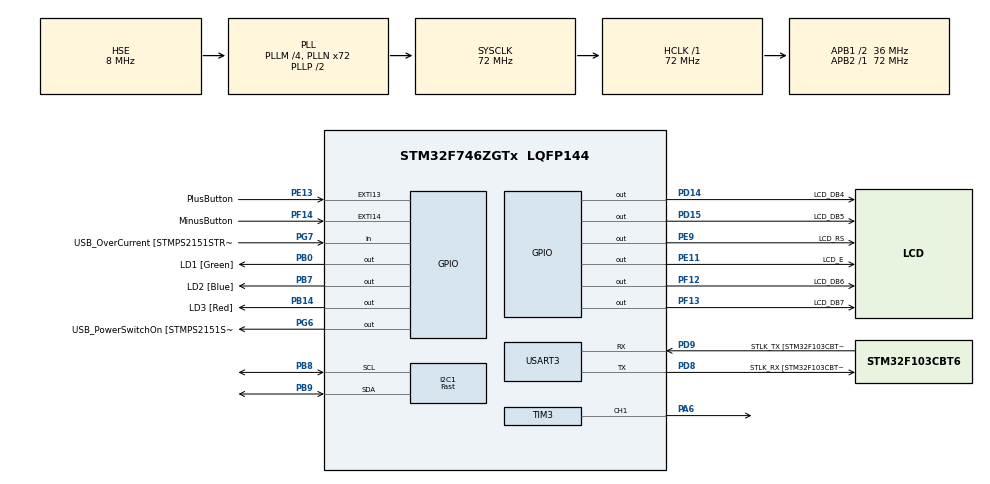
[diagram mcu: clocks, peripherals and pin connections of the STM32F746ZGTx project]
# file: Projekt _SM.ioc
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FREERTOS.Queues01=TempQueue,8,LcdMessage_t,0,Dynamic,NULL,NULL;SetpointQueue,8,float,0,Dynamic,NULL,NULL;ButtonsQueue,8,float,0,Dynamic,NULL,NULL
I2C1.I2C_Speed_Mode=I2C_Fast
PB14.GPIO_Label=LD3 [Red]
PG6.GPIO_Label=USB_PowerSwitchOn [STMPS2151STR_EN]
PA14.GPIO_Label=TCK
PB13.Signal=ETH_TXD1
PG13.Signal=ETH_TXD0
RCC.SYSCLKSource=RCC_SYSCLKSOURCE_PLLCLK
USART3.VirtualMode-Asynchronous=VM_ASYNC
FREERTOS.configENABLE_FPU=1
RCC.APB2TimFreq_Value=72000000
PH1/OSC_OUT.Signal=RCC_OSC_OUT
PD8.Signal=USART3_TX
NVIC.EXTI15_10_IRQn=true\:5\:0\:true\:true\:true\:2\:true\:true\:true
NVIC.TIM8_TRG_COM_TIM14_IRQn=true\:0\:0\:false\:false\:true\:false\:false\:true
PF12.GPIO_Label=LCD_DB6
PC4.GPIO_Label=RMII_RXD0 [LAN8742A-CZ-TR_RXD0]
PE9.Signal=GPIO_Output
PA8.Signal=USB_OTG_FS_SOF
VP_SYS_VS_tim14.Mode=TIM14
PF14.GPIO_PuPd=GPIO_NOPULL
Mcu.Package=LQFP144
PB9.Signal=I2C1_SDA
NVIC.TimeBase=TIM8_TRG_COM_TIM14_IRQn
NVIC.TimeBaseIP=TIM14
PA10.Signal=USB_OTG_FS_ID
PF14.Signal=GPXTI14
RCC.APB1TimFreq_Value=72000000
PD15.Signal=GPIO_Output
FREERTOS.Tasks01=LCDTask,24,256,StartLCDTask,Default,NULL,Dynamic,NULL,NULL;ControllerTask,40,256,StartControllerTask,Default,NULL,Dynamic,NULL,NULL;HeartBeatTask,8,128,HeartBeatTaskTask,Default,NULL,Dynamic,NULL,NULL;ParsingTask,24,256,StartParsingTask,Default,NULL,Dynamic,NULL,NULL
PD9.GPIO_Label=STLK_TX [STM32F103CBT6_PA2]
PA9.GPIO_Label=USB_VBUS
PA11.GPIO_Label=USB_DM
PF14.GPIO_Label=MinusButton
RCC.APB1CLKDivider=RCC_HCLK_DIV2
PF13.GPIO_Label=LCD_DB7
PG13.GPIO_Label=RMII_TXD0 [LAN8742A-CZ-TR_TXD0]
PA8.GPIO_Label=USB_SOF [TP1]
PA9.Signal=USB_OTG_FS_VBUS
I2C1.Timing=0x00301739
PE9.GPIO_Label=LCD_RS
PD8.Mode=Asynchronous
PB14.Signal=GPIO_Output
PE13.GPIO_ModeDefaultEXTI=GPIO_MODE_IT_FALLING
RCC.PRESCALERUSB=RCC_USBCLKSOURCE_PLL_DIV1_5
PG7.GPIO_Label=USB_OverCurrent [STMPS2151STR_FAULT]
PA1.GPIO_Label=RMII_REF_CLK [LAN8742A-CZ-TR_REFCLK0]
PF14.GPIO_ModeDefaultEXTI=GPIO_MODE_IT_FALLING
PF13.Signal=GPIO_Output
PA13.Mode=Serial_Wire
PE13.GPIO_Label=PlusButton
PA11.Signal=USB_OTG_FS_DM
ProjectManager.HeapSize=0x200
FREERTOS.Timers01=LcdDataTimer,LcdDataTimerCallback,osTimerPeriodic,Default,NULL,Dynamic,NULL
VP_TIM4_VS_ClockSourceINT.Mode=Internal
FREERTOS.Mutexes01=UartMutex,Dynamic,NULL
NVIC.PriorityGroup=NVIC_PRIORITYGROUP_4
PB8.Mode=I2C
PC15/OSC32_OUT.Signal=RCC_OSC32_OUT
PB0.Signal=GPIO_Output
PC1.Signal=ETH_MDC
Mcu.Family=STM32F7
NVIC.USART3_IRQn=true\:5\:0\:true\:true\:true\:1\:true\:true\:true
RCC.CortexFreq_Value=72000000
FREERTOS.BinarySemaphores01=TempQueueSemaphore,Dynamic,NULL
PG6.Signal=GPIO_Output
PE11.GPIO_Label=LCD_E
RCC.SYSCLKSourceVirtual=RCC_SYSCLKSOURCE_PLLCLK
PC14/OSC32_IN.Mode=LSE-External-Oscillator
PB0.GPIO_Label=LD1 [Green]
PB13.GPIO_Label=RMII_TXD1 [LAN8742A-CZ-TR_TXD1]
PD9.Mode=Asynchronous
PG11.Signal=ETH_TX_EN
ProjectManager.StackSize=0x400
VP_FREERTOS_VS_CMSIS_V2.Mode=CMSIS_V2
PA12.Signal=USB_OTG_FS_DP
PH0/OSC_IN.Mode=HSE-External-Clock-Source
RCC.HCLKFreq_Value=72000000
TIM3.Period=999
PF12.Signal=GPIO_Output
RCC.AHBFreq_Value=72000000
TIM3.Channel-PWM\ Generation1\ CH1=TIM_CHANNEL_1
RCC.HSE_VALUE=8000000
PE13.GPIO_PuPd=GPIO_NOPULL
RCC.PLLMUL=RCC_PLL_MUL9
PE13.Signal=GPXTI13
PA14.Mode=Serial_Wire
TIM3.Prescaler=71
PA10.GPIO_Label=USB_ID
PB7.Signal=GPIO_Output
SH.S_TIM3_CH1.0=TIM3_CH1,PWM Generation1 CH1
PH1/OSC_OUT.Mode=HSE-External-Clock-Source
PB7.GPIO_Label=LD2 [Blue]
PA6.Signal=S_TIM3_CH1
PC14/OSC32_IN.Signal=RCC_OSC32_IN
PA2.GPIO_Label=RMII_MDIO [LAN8742A-CZ-TR_MDIO]
PG11.GPIO_Label=RMII_TX_EN [LAN8742A-CZ-TR_TXEN]
PC5.Signal=ETH_RXD1
VP_TIM3_VS_ClockSourceINT.Mode=Internal
PB3.GPIO_Label=SW0
RCC.PLLSourceVirtual=RCC_PLLSOURCE_HSE
PD15.GPIO_Label=LCD_DB5
PG7.Signal=GPIO_Input
PC4.Signal=ETH_RXD0
PD9.Signal=USART3_RX
FREERTOS.CountingSemaphores01=ReadLinesCountingSem,4,Dynamic,NULL
PA12.GPIO_Label=USB_DP
PD8.GPIO_Label=STLK_RX [STM32F103CBT6_PA3]
PA13.Signal=SYS_JTMS-SWDIO
FREERTOS.configUSE_IDLE_HOOK=0
ProjectManager.TargetToolchain=STM32CubeIDE
PB9.Mode=I2C
RCC.USBFreq_Value=48000000
TIM4.Prescaler=71
PE11.Signal=GPIO_Output
PA1.Signal=ETH_REF_CLK
board=NUCLEO-F746ZG
RCC.VCOOutputFreq_Value=144000000
PH0/OSC_IN.Signal=RCC_OSC_IN
RCC.APB2Freq_Value=72000000
PC1.GPIO_Label=RMII_MDC [LAN8742A-CZ-TR_MDC]
PD14.GPIO_Label=LCD_DB4
Mcu.Name=STM32F746ZGTx
PA13.GPIO_Label=TMS
PA2.Signal=ETH_MDIO
PD14.Signal=GPIO_Output
RCC.48MHZClocksFreq_Value=24000000
PB3.Signal=SYS_JTDO-SWO
RCC.SYSCLKFreq_VALUE=72000000
PA7.GPIO_Label=RMII_CRS_DV [LAN8742A-CZ-TR_CRS_DV]
PC5.GPIO_Label=RMII_RXD1 [LAN8742A-CZ-TR_RXD1]
PC15/OSC32_OUT.Mode=LSE-External-Oscillator
PA14.Signal=SYS_JTCK-SWCLK
RCC.HSI_VALUE=16000000
PH0/OSC_IN.GPIO_Label=MCO [STM32F103CBT6_PA8]
RCC.PLLQ=3
RCC.PLLM=4
RCC.PLLN=72
PB8.Signal=I2C1_SCL
RCC.APB1Freq_Value=36000000
PA7.Signal=ETH_CRS_DV

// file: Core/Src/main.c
/* USER CODE BEGIN Header */
/**
  ******************************************************************************
  * @file           : main.c
  * @brief          : Main program body
  ******************************************************************************
  * @attention
  *
  * <h2><center>&copy; Copyright (c) 2022 STMicroelectronics.
  * All rights reserved.</center></h2>
  *
  * This software component is licensed by ST under BSD 3-Clause license,
  * the "License"; You may not use this file except in compliance with the
  * License. You may obtain a copy of the License at:
  *                        opensource.org/licenses/BSD-3-Clause
  *
  ******************************************************************************
  */
/* USER CODE END Header */
#include "main.h"
#include "cmsis_os.h"
#include "i2c.h"
#include "tim.h"
#include "usart.h"
#include "gpio.h"

void SystemClock_Config(void);
void MX_FREERTOS_Init(void);
static void MX_NVIC_Init(void);

int main(void)
{

  /* MCU Configuration--------------------------------------------------------*/

  /* Reset of all peripherals, Initializes the Flash interface and the Systick. */
  HAL_Init();

  /* Configure the system clock */
  SystemClock_Config();

  /* Initialize all configured peripherals */
  MX_GPIO_Init();
  MX_USART3_UART_Init();
  MX_I2C1_Init();
  MX_TIM3_Init();
  MX_TIM4_Init();

  /* Initialize interrupts */
  MX_NVIC_Init();

  /* Init scheduler */
  osKernelInitialize();  /* Call init function for freertos objects (in freertos.c) */
  MX_FREERTOS_Init();
  /* Start scheduler */
  osKernelStart();

  /* We should never get here as control is now taken by the scheduler */
  /* Infinite loop */
  while (1)
  {

  }
}

void SystemClock_Config(void)
{
  RCC_OscInitTypeDef RCC_OscInitStruct = {0};
  RCC_ClkInitTypeDef RCC_ClkInitStruct = {0};
  RCC_PeriphCLKInitTypeDef PeriphClkInitStruct = {0};

  /** Configure LSE Drive Capability
  */
  HAL_PWR_EnableBkUpAccess();
  /** Configure the main internal regulator output voltage
  */
  __HAL_RCC_PWR_CLK_ENABLE();
  __HAL_PWR_VOLTAGESCALING_CONFIG(PWR_REGULATOR_VOLTAGE_SCALE3);
  /** Initializes the RCC Oscillators according to the specified parameters
  * in the RCC_OscInitTypeDef structure.
  */
  RCC_OscInitStruct.OscillatorType = RCC_OSCILLATORTYPE_HSE;
  RCC_OscInitStruct.HSEState = RCC_HSE_BYPASS;
  RCC_OscInitStruct.PLL.PLLState = RCC_PLL_ON;
  RCC_OscInitStruct.PLL.PLLSource = RCC_PLLSOURCE_HSE;
  RCC_OscInitStruct.PLL.PLLM = 4;
  RCC_OscInitStruct.PLL.PLLN = 72;
  RCC_OscInitStruct.PLL.PLLP = RCC_PLLP_DIV2;
  RCC_OscInitStruct.PLL.PLLQ = 3;
  if (HAL_RCC_OscConfig(&RCC_OscInitStruct) != HAL_OK)
  {
    Error_Handler();
  }
  /** Initializes the CPU, AHB and APB buses clocks
  */
  RCC_ClkInitStruct.ClockType = RCC_CLOCKTYPE_HCLK|RCC_CLOCKTYPE_SYSCLK
                              |RCC_CLOCKTYPE_PCLK1|RCC_CLOCKTYPE_PCLK2;
  RCC_ClkInitStruct.SYSCLKSource = RCC_SYSCLKSOURCE_PLLCLK;
  RCC_ClkInitStruct.AHBCLKDivider = RCC_SYSCLK_DIV1;
  RCC_ClkInitStruct.APB1CLKDivider = RCC_HCLK_DIV2;
  RCC_ClkInitStruct.APB2CLKDivider = RCC_HCLK_DIV1;

  if (HAL_RCC_ClockConfig(&RCC_ClkInitStruct, FLASH_LATENCY_2) != HAL_OK)
  {
    Error_Handler();
  }
  PeriphClkInitStruct.PeriphClockSelection = RCC_PERIPHCLK_USART3|RCC_PERIPHCLK_I2C1;
  PeriphClkInitStruct.Usart3ClockSelection = RCC_USART3CLKSOURCE_PCLK1;
  PeriphClkInitStruct.I2c1ClockSelection = RCC_I2C1CLKSOURCE_PCLK1;
  if (HAL_RCCEx_PeriphCLKConfig(&PeriphClkInitStruct) != HAL_OK)
  {
    Error_Handler();
  }
}

/**
  * @brief NVIC Configuration.
  * @retval None
  */
static void MX_NVIC_Init(void)
{
  /* USART3_IRQn interrupt configuration */
  HAL_NVIC_SetPriority(USART3_IRQn, 5, 0);
  HAL_NVIC_EnableIRQ(USART3_IRQn);
  /* EXTI15_10_IRQn interrupt configuration */
  HAL_NVIC_SetPriority(EXTI15_10_IRQn, 5, 0);
  HAL_NVIC_EnableIRQ(EXTI15_10_IRQn);
}

 /**
  * @brief  Period elapsed callback in non blocking mode
  * @note   This function is called  when TIM14 interrupt took place, inside
  * HAL_TIM_IRQHandler(). It makes a direct call to HAL_IncTick() to increment
  * a global variable "uwTick" used as application time base.
  * @param  htim : TIM handle
  * @retval None
  */
void HAL_TIM_PeriodElapsedCallback(TIM_HandleTypeDef *htim)
{
  if (htim->Instance == TIM14) {
    HAL_IncTick();
  }
}

void Error_Handler(void)
{
  __disable_irq();
  while (1)
  {
  }
}

/************************ (C) COPYRIGHT STMicroelectronics *****END OF FILE****/

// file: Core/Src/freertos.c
/* USER CODE BEGIN Header */
/**
  ******************************************************************************
  * File Name          : freertos.c
  * Description        : Code for freertos applications
  ******************************************************************************
  * @attention
  *
  * <h2><center>&copy; Copyright (c) 2022 STMicroelectronics.
  * All rights reserved.</center></h2>
  *
  * This software component is licensed by ST under Ultimate Liberty license
  * SLA0044, the "License"; You may not use this file except in compliance with
  * the License. You may obtain a copy of the License at:
  *                             www.st.com/SLA0044
  *
  ******************************************************************************
  */
/* USER CODE END Header */

#include "FreeRTOS.h"
#include "task.h"
#include "main.h"
#include "cmsis_os.h"

/* USER CODE BEGIN Includes */
#include <stdio.h>
#include <stdlib.h>

#include "i2c.h"
#include "usart.h"
#include "tim.h"

#include "BMPXX80.h"
#include "LCD_HD44780.h"
#include "PID_Controller.h"
#include "printf.h"
#include "ring_buffer.h"
#include "Saturation.h"
/* USER CODE END Includes */

/* USER CODE BEGIN PTD */
typedef struct {
	float setpoint;
	float measured;
} LcdMessage_t;
/* USER CODE END PTD */

/* USER CODE BEGIN Variables */
RingBuffer_t buffer;
uint8_t received_char;
const float plus_button_value = 0.5;
const float minus_button_value = -0.5;
uint32_t last_tick;
/* USER CODE END Variables */
/* Definitions for LCDTask */
osThreadId_t LCDTaskHandle;
const osThreadAttr_t LCDTask_attributes = {
  .name = "LCDTask",
  .stack_size = 256 * 4,
  .priority = (osPriority_t) osPriorityNormal,
};
/* Definitions for ControllerTask */
osThreadId_t ControllerTaskHandle;
const osThreadAttr_t ControllerTask_attributes = {
  .name = "ControllerTask",
  .stack_size = 256 * 4,
  .priority = (osPriority_t) osPriorityHigh,
};
/* Definitions for HeartBeatTask */
osThreadId_t HeartBeatTaskHandle;
const osThreadAttr_t HeartBeatTask_attributes = {
  .name = "HeartBeatTask",
  .stack_size = 128 * 4,
  .priority = (osPriority_t) osPriorityLow,
};
/* Definitions for ParsingTask */
osThreadId_t ParsingTaskHandle;
const osThreadAttr_t ParsingTask_attributes = {
  .name = "ParsingTask",
  .stack_size = 256 * 4,
  .priority = (osPriority_t) osPriorityNormal,
};
/* Definitions for TempQueue */
osMessageQueueId_t TempQueueHandle;
const osMessageQueueAttr_t TempQueue_attributes = {
  .name = "TempQueue"
};
/* Definitions for SetpointQueue */
osMessageQueueId_t SetpointQueueHandle;
const osMessageQueueAttr_t SetpointQueue_attributes = {
  .name = "SetpointQueue"
};
/* Definitions for ButtonsQueue */
osMessageQueueId_t ButtonsQueueHandle;
const osMessageQueueAttr_t ButtonsQueue_attributes = {
  .name = "ButtonsQueue"
};
/* Definitions for LcdDataTimer */
osTimerId_t LcdDataTimerHandle;
const osTimerAttr_t LcdDataTimer_attributes = {
  .name = "LcdDataTimer"
};
/* Definitions for UartMutex */
osMutexId_t UartMutexHandle;
const osMutexAttr_t UartMutex_attributes = {
  .name = "UartMutex"
};
/* Definitions for TempQueueSemaphore */
osSemaphoreId_t TempQueueSemaphoreHandle;
const osSemaphoreAttr_t TempQueueSemaphore_attributes = {
  .name = "TempQueueSemaphore"
};
/* Definitions for ReadLinesCountingSem */
osSemaphoreId_t ReadLinesCountingSemHandle;
const osSemaphoreAttr_t ReadLinesCountingSem_attributes = {
  .name = "ReadLinesCountingSem"
};

void StartLCDTask(void *argument);
void StartControllerTask(void *argument);
void HeartBeatTaskTask(void *argument);
void StartParsingTask(void *argument);
void LcdDataTimerCallback(void *argument);

void MX_FREERTOS_Init(void); /* (MISRA C 2004 rule 8.1) */

void MX_FREERTOS_Init(void) {
  /* Create the mutex(es) */
  /* creation of UartMutex */
  UartMutexHandle = osMutexNew(&UartMutex_attributes);

  /* Create the semaphores(s) */
  /* creation of TempQueueSemaphore */
  TempQueueSemaphoreHandle = osSemaphoreNew(1, 1, &TempQueueSemaphore_attributes);

  /* creation of ReadLinesCountingSem */
  ReadLinesCountingSemHandle = osSemaphoreNew(4, 0, &ReadLinesCountingSem_attributes);

  /* Create the timer(s) */
  /* creation of LcdDataTimer */
  LcdDataTimerHandle = osTimerNew(LcdDataTimerCallback, osTimerPeriodic, NULL, &LcdDataTimer_attributes);

  /* Create the queue(s) */
  /* creation of TempQueue */
  TempQueueHandle = osMessageQueueNew (8, sizeof(LcdMessage_t), &TempQueue_attributes);

  /* creation of SetpointQueue */
  SetpointQueueHandle = osMessageQueueNew (8, sizeof(float), &SetpointQueue_attributes);

  /* creation of ButtonsQueue */
  ButtonsQueueHandle = osMessageQueueNew (8, sizeof(float), &ButtonsQueue_attributes);

  /* Create the thread(s) */
  /* creation of LCDTask */
  LCDTaskHandle = osThreadNew(StartLCDTask, NULL, &LCDTask_attributes);

  /* creation of ControllerTask */
  ControllerTaskHandle = osThreadNew(StartControllerTask, NULL, &ControllerTask_attributes);

  /* creation of HeartBeatTask */
  HeartBeatTaskHandle = osThreadNew(HeartBeatTaskTask, NULL, &HeartBeatTask_attributes);

  /* creation of ParsingTask */
  ParsingTaskHandle = osThreadNew(StartParsingTask, NULL, &ParsingTask_attributes);

}

void StartLCDTask(void *argument)
{
  /* USER CODE BEGIN StartLCDTask */
	LcdMessage_t message;
	uint8_t text[16];

	HAL_TIM_Base_Start(&htim4);
	LCD_Init();
  /* Infinite loop */
  for(;;)
  {
	  // Oczekiwanie na nadejście informacji o aktualnej oraz zadanej temperaturze
	  if (osOK == osMessageQueueGet(TempQueueHandle, &message, NULL, osWaitForever)) {
		  LCD_Cls();

		  // Wyswietlenie informacji na wyswietlaczu
		  sprintf((char*)text, "Zad. : %.2f C", message.setpoint);
		  taskENTER_CRITICAL();
		  LCD_Locate(0,0);
		  LCD_String((char*)text);
		  taskEXIT_CRITICAL();

		  sprintf((char*)text, "Temp.: %.2f C", message.measured);
		  taskENTER_CRITICAL();
		  LCD_Locate(0,1);
		  LCD_String((char*)text);
		  taskEXIT_CRITICAL();

		  // Wysłanie informacji za pomocą interfejsu UART
		  printf("Zad. : %.2f C\r\n", message.setpoint);
		  printf("Temp.: %.2f C\r\n", message.measured);
	  }
  }
  /* USER CODE END StartLCDTask */
}

void StartControllerTask(void *argument)
{
  /* USER CODE BEGIN StartControllerTask */
	last_tick = osKernelGetTickCount();
	LcdMessage_t message;
	float temperature;
	float setpoint = 27.f;
	float setpoint_offset;
	float pid_output;
	Saturation setpoint_saturation = {.lower_bound = 25.f, .upper_bound = 30.f};

	Saturation saturation = {.lower_bound = 0, .upper_bound = 1};
	const float P = 1.3;
	const float I = 0.021;
	const float D = 9;
	PID_Controller controller = PID_Create_Saturation(P, I, D, 0.1, &saturation);

	HAL_TIM_PWM_Start(&htim3, TIM_CHANNEL_1);
	BMP280_Init(&hi2c1, BMP280_TEMPERATURE_16BIT, BMP280_STANDARD, BMP280_FORCEDMODE);
	BMP280_SetConfig(BME280_STANDBY_MS_0_5, BME280_FILTER_X16);

	osTimerStart(LcdDataTimerHandle, 1000);

	uint32_t tick = osKernelGetTickCount();
  /* Infinite loop */
  for(;;)
  {
	  // Odczytanie zmiany wartości zadanej dostarczonej za pomocą UART
	  if (osOK == osMessageQueueGet(SetpointQueueHandle, &setpoint, 0, 0)) {
		  setpoint = calculate_saturation(setpoint, &setpoint_saturation);
	  }

	  // Odczytanie zmiany wartości zadanej po wciśnięciu przycisku
	  if (osOK == osMessageQueueGet(ButtonsQueueHandle, &setpoint_offset, 0, 0)) {
		  setpoint += setpoint_offset;
		  setpoint = calculate_saturation(setpoint, &setpoint_saturation);
	  }

	  // Obliczenie sygnału sterującego
	  taskENTER_CRITICAL();
	  temperature = BMP280_ReadTemperature();
	  pid_output = calculate_pid(&controller, setpoint - temperature);
	  __HAL_TIM_SET_COMPARE(&htim3, TIM_CHANNEL_1, (uint16_t)(pid_output * 999));
	  taskEXIT_CRITICAL();

	  // Wysłanie informacji o aktualnej oraz zadanej temperaturze do wyświetlacza (co 1 sekundę)
	  message.setpoint = setpoint;
	  message.measured = temperature;
	  if (osOK == osSemaphoreAcquire(TempQueueSemaphoreHandle, 0)) {
		  osMessageQueuePut(TempQueueHandle, &message, 0, 0);
	  }

	  // Task wykonuje się co 100 ms
	  tick += 100;
	  osDelayUntil(tick);
  }
  /* USER CODE END StartControllerTask */
}

void HeartBeatTaskTask(void *argument)
{
  /* USER CODE BEGIN HeartBeatTaskTask */
  /* Infinite loop */
  for(;;)
  {
	  // Miganie diodą w celu sygnalizacji działania systemu
	  HAL_GPIO_TogglePin(LD1_GPIO_Port, LD1_Pin);
	  osDelay(500);
  }
  /* USER CODE END HeartBeatTaskTask */
}

void StartParsingTask(void *argument)
{
  /* USER CODE BEGIN StartParsingTask */
	uint8_t received_data[16];
	float new_setpoint;
	HAL_UART_Receive_IT(&huart3, &received_char, 1);
  /* Infinite loop */
  for(;;)
  {
	  // Oczekiwanie na nadejście komunikatów na interfejsie UART
	  if (osOK == osSemaphoreAcquire(ReadLinesCountingSemHandle, osWaitForever)) {
		  RB_TakeLine(&buffer, received_data);

		  // Zamiana komunikatu na wartość typu float
		  new_setpoint = atoff((char*)received_data);
		  if (new_setpoint != 0.0f) {
			  // Wysłanie odczytanej zadanej temperatury do regulatora
			  osMessageQueuePut(SetpointQueueHandle, &new_setpoint, 0, 0);
		  }
	  }
  }
  /* USER CODE END StartParsingTask */
}

/* LcdDataTimerCallback function */
void LcdDataTimerCallback(void *argument)
{
  /* USER CODE BEGIN LcdDataTimerCallback */
	osSemaphoreRelease(TempQueueSemaphoreHandle);
  /* USER CODE END LcdDataTimerCallback */
}

/* USER CODE BEGIN Application */
void _putchar(char character) {
	osMutexAcquire(UartMutexHandle, osWaitForever);
	HAL_UART_Transmit(&huart3, (uint8_t*)&character, 1, 1000);
	osMutexRelease(UartMutexHandle);
}

void HAL_UART_RxCpltCallback(UART_HandleTypeDef *huart) {
	if (huart->Instance == USART3) {
		 if (RB_OK == RB_Write(&buffer, received_char)) {
			 if (received_char == '\n') {
				 osSemaphoreRelease(ReadLinesCountingSemHandle);
			 }
		 }

		 HAL_UART_Receive_IT(&huart3, &received_char, 1);
	}
}

void HAL_GPIO_EXTI_Callback(uint16_t GPIO_Pin) {
	// Po wystąpieniu przerwania po wciśnięciu przycisku wysyłana jest informacja do kontrolera o zmianie wartości zadanej
	if (GPIO_Pin == PlusButton_Pin && osKernelGetTickCount() - last_tick > 200) {
		last_tick = osKernelGetTickCount();
		osMessageQueuePut(ButtonsQueueHandle, &plus_button_value, 0, 0);
	} else if (GPIO_Pin == MinusButton_Pin && osKernelGetTickCount() - last_tick > 200) {
		last_tick = osKernelGetTickCount();
		osMessageQueuePut(ButtonsQueueHandle, &minus_button_value, 0, 0);
	}
}
/* USER CODE END Application */

/************************ (C) COPYRIGHT STMicroelectronics *****END OF FILE****/
